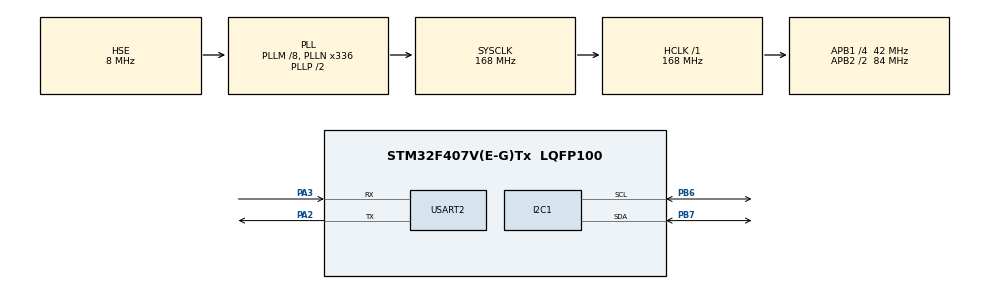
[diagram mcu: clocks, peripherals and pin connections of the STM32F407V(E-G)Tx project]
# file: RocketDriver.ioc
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Mcu.Family=STM32F4
Mcu.Name=STM32F407V(E-G)Tx
Mcu.Package=LQFP100
NVIC.I2C1_ER_IRQn=true\:0\:0\:false\:false\:true\:true\:true\:true
NVIC.I2C1_EV_IRQn=true\:0\:0\:false\:false\:true\:true\:true\:true
NVIC.PriorityGroup=NVIC_PRIORITYGROUP_0
NVIC.USART2_IRQn=true\:0\:0\:false\:false\:true\:true\:true\:true
PA13.Mode=Serial_Wire
PA13.Signal=SYS_JTMS-SWDIO
PA14.Mode=Serial_Wire
PA14.Signal=SYS_JTCK-SWCLK
PA2.Mode=Asynchronous
PA2.Signal=USART2_TX
PA3.Mode=Asynchronous
PA3.Signal=USART2_RX
PB6.Mode=I2C
PB6.Signal=I2C1_SCL
PB7.Mode=I2C
PB7.Signal=I2C1_SDA
PH0-OSC_IN.Mode=HSE-External-Oscillator
PH0-OSC_IN.Signal=RCC_OSC_IN
PH1-OSC_OUT.Mode=HSE-External-Oscillator
PH1-OSC_OUT.Signal=RCC_OSC_OUT
ProjectManager.HeapSize=0x200
ProjectManager.StackSize=0x400
ProjectManager.TargetToolchain=STM32CubeIDE
RCC.48MHZClocksFreq_Value=48000000
RCC.AHBFreq_Value=168000000
RCC.APB1CLKDivider=RCC_HCLK_DIV4
RCC.APB1Freq_Value=42000000
RCC.APB1TimFreq_Value=84000000
RCC.APB2CLKDivider=RCC_HCLK_DIV2
RCC.APB2Freq_Value=84000000
RCC.APB2TimFreq_Value=168000000
RCC.CortexFreq_Value=168000000
RCC.HCLKFreq_Value=168000000
RCC.HSE_VALUE=8000000
RCC.HSI_VALUE=16000000
RCC.LSE_VALUE=32768
RCC.PLLM=8
RCC.PLLN=336
RCC.PLLQ=7
RCC.PLLSourceVirtual=RCC_PLLSOURCE_HSE
RCC.SYSCLKFreq_VALUE=168000000
RCC.SYSCLKSource=RCC_SYSCLKSOURCE_PLLCLK
RCC.VCOOutputFreq_Value=336000000
USART2.VirtualMode=VM_ASYNC
board=STM32F407G-DISC1

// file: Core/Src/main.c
/* USER CODE BEGIN Header */
/**
  ******************************************************************************
  * @file           : main.c
  * @brief          : Main program body
  ******************************************************************************
  * @attention
  *
  * Copyright (c) 2024 STMicroelectronics.
  * All rights reserved.
  *
  * This software is licensed under terms that can be found in the LICENSE file
  * in the root directory of this software component.
  * If no LICENSE file comes with this software, it is provided AS-IS.
  *
  ******************************************************************************
  */
/* USER CODE END Header */
#include "main.h"

/* USER CODE BEGIN Includes */
#include "MPU6050.h"
#include "BMP280.h"
#include "lwgps_opts.h"
#include "lwgps.h"

BMP280_HandleTypedef_t Handle;
MPUHandleTypedef_t MPUHandle;
lwgps_t gh;

/* USER CODE END Includes */

/* USER CODE BEGIN PD */
uint8_t rxBuffer[128] = {0};
uint8_t rx_data = 0, rx_index = 0;
uint8_t rawData[6] = {0};
uint8_t data[14] = {0};
uint8_t *d = rxBuffer;
char state = 'B';
void (*p)(void);
/* USER CODE END PD */

I2C_HandleTypeDef hi2c1;

UART_HandleTypeDef huart2;

void SystemClock_Config(void);
static void MX_GPIO_Init(void);
static void MX_I2C1_Init(void);
static void MX_USART2_UART_Init(void);
void HAL_I2C_MemRxCpltCallback(I2C_HandleTypeDef *hi2c);
HAL_StatusTypeDef MPU_Initialize(void);
void bmp(void);
void mpu(void);
void helper(void);
void gps(void);

/* USER CODE BEGIN 0 */

void USART2_IRQHandler();

void HAL_UART_RxCpltCallback(UART_HandleTypeDef *huart)
{
	if(huart == &huart2)
	{
		p();
	}

}

void I2C1_EV_IRQHandler();

void HAL_I2C_MemRxCpltCallback(I2C_HandleTypeDef *hi2c)
{
	if(hi2c == &hi2c1)
	{
		p();
	}
}
/**************BMP**********************/
void bmp(void)
{
	p = mpu;
	state = 'M';
	BMP280CalculateData(&Handle);
	BMP280CalibData(&Handle);
	helper();
}
/**************MPU**********************/
void mpu(void)
{
	p = gps;
	state = 'G';
	MPUGenerateData(&MPUHandle, data);
	helper();
}

void gps(void)
{

	if(rx_data != "\n" && (rx_index < sizeof(rxBuffer)))
	{
		rxBuffer[rx_index++] = rx_data;

	}
	else
	{
		lwgps_process(&gh, rxBuffer, rx_index+1);
		rx_index = 0;
		rx_data = 0;

		p = bmp;
		state = 'B';

	}

	helper();

}

void helper(void)
{
	if(state == 'B')
	{
		HAL_I2C_Mem_Read_IT(&hi2c1, dev_addr, 0xF7,  1, rawData, 6);
	}
	else if(state == 'M')
	{
		HAL_I2C_Mem_Read_IT(&hi2c1, (dev_addr_AD0), 0x3B, 1, data, 14);
	}
	else if(state == 'G')
	{
		HAL_UART_Receive_IT(&huart2,&rx_data,1);
	}
}
/* USER CODE END 0 */

int main(void)
{

  /* MCU Configuration--------------------------------------------------------*/

  /* Reset of all peripherals, Initializes the Flash interface and the Systick. */
  HAL_Init();

  /* Configure the system clock */
  SystemClock_Config();

  /* Initialize all configured peripherals */
  MX_GPIO_Init();
  MX_I2C1_Init();
  MX_USART2_UART_Init();
  /* USER CODE BEGIN 2 */

  while(BMP280Init(normal, oversampling_t_2, oversampling_p_8, t_sb_1000));			//BMP initialize
  while(MPU_Initialize());															//MPU initialize
  lwgps_init(&gh);																	//GPS initialize
  Handle.rawData = rawData;															//for BMP sensor

  p = bmp;																		//function pointer

  HAL_NVIC_SetPriority(	USART2_IRQn, 0, 2);
  HAL_NVIC_EnableIRQ(USART2_IRQn);

  HAL_NVIC_SetPriority(I2C1_EV_IRQn, 0, 1);
  HAL_NVIC_EnableIRQ(I2C1_EV_IRQn);

  helper();																			//to receive data

  /* USER CODE END 2 */

  /* Infinite loop */
  while (1)
  {

  }
}

void SystemClock_Config(void)
{
  RCC_OscInitTypeDef RCC_OscInitStruct = {0};
  RCC_ClkInitTypeDef RCC_ClkInitStruct = {0};

  /** Configure the main internal regulator output voltage
  */
  __HAL_RCC_PWR_CLK_ENABLE();
  __HAL_PWR_VOLTAGESCALING_CONFIG(PWR_REGULATOR_VOLTAGE_SCALE1);

  /** Initializes the RCC Oscillators according to the specified parameters
  * in the RCC_OscInitTypeDef structure.
  */
  RCC_OscInitStruct.OscillatorType = RCC_OSCILLATORTYPE_HSE;
  RCC_OscInitStruct.HSEState = RCC_HSE_ON;
  RCC_OscInitStruct.PLL.PLLState = RCC_PLL_ON;
  RCC_OscInitStruct.PLL.PLLSource = RCC_PLLSOURCE_HSE;
  RCC_OscInitStruct.PLL.PLLM = 8;
  RCC_OscInitStruct.PLL.PLLN = 336;
  RCC_OscInitStruct.PLL.PLLP = RCC_PLLP_DIV2;
  RCC_OscInitStruct.PLL.PLLQ = 7;
  if (HAL_RCC_OscConfig(&RCC_OscInitStruct) != HAL_OK)
  {
    Error_Handler();
  }

  /** Initializes the CPU, AHB and APB buses clocks
  */
  RCC_ClkInitStruct.ClockType = RCC_CLOCKTYPE_HCLK|RCC_CLOCKTYPE_SYSCLK
                              |RCC_CLOCKTYPE_PCLK1|RCC_CLOCKTYPE_PCLK2;
  RCC_ClkInitStruct.SYSCLKSource = RCC_SYSCLKSOURCE_PLLCLK;
  RCC_ClkInitStruct.AHBCLKDivider = RCC_SYSCLK_DIV1;
  RCC_ClkInitStruct.APB1CLKDivider = RCC_HCLK_DIV4;
  RCC_ClkInitStruct.APB2CLKDivider = RCC_HCLK_DIV2;

  if (HAL_RCC_ClockConfig(&RCC_ClkInitStruct, FLASH_LATENCY_5) != HAL_OK)
  {
    Error_Handler();
  }
}

static void MX_I2C1_Init(void)
{

  hi2c1.Instance = I2C1;
  hi2c1.Init.ClockSpeed = 100000;
  hi2c1.Init.DutyCycle = I2C_DUTYCYCLE_2;
  hi2c1.Init.OwnAddress1 = 0;
  hi2c1.Init.AddressingMode = I2C_ADDRESSINGMODE_7BIT;
  hi2c1.Init.DualAddressMode = I2C_DUALADDRESS_DISABLE;
  hi2c1.Init.OwnAddress2 = 0;
  hi2c1.Init.GeneralCallMode = I2C_GENERALCALL_DISABLE;
  hi2c1.Init.NoStretchMode = I2C_NOSTRETCH_DISABLE;
  if (HAL_I2C_Init(&hi2c1) != HAL_OK)
  {
    Error_Handler();
  }

}

static void MX_USART2_UART_Init(void)
{

  huart2.Instance = USART2;
  huart2.Init.BaudRate = 115200;
  huart2.Init.WordLength = UART_WORDLENGTH_8B;
  huart2.Init.StopBits = UART_STOPBITS_1;
  huart2.Init.Parity = UART_PARITY_NONE;
  huart2.Init.Mode = UART_MODE_TX_RX;
  huart2.Init.HwFlowCtl = UART_HWCONTROL_NONE;
  huart2.Init.OverSampling = UART_OVERSAMPLING_16;
  if (HAL_UART_Init(&huart2) != HAL_OK)
  {
    Error_Handler();
  }

}

static void MX_GPIO_Init(void)
{

  /* GPIO Ports Clock Enable */
  __HAL_RCC_GPIOH_CLK_ENABLE();
  __HAL_RCC_GPIOA_CLK_ENABLE();
  __HAL_RCC_GPIOB_CLK_ENABLE();

}

/* USER CODE BEGIN 4 */
HAL_StatusTypeDef MPU_Initialize(void)
{
	uint8_t status;
	MPUHandleTypedef_t MPUHandle = {0};

	MPUHandle.Sleep = Awake;
	MPUHandle.AFS_SEL_Acc = AFS_SEL_4;
	MPUHandle.FS_SEL_Gyro = FS_SEL_1000;

	status = MPUInitialize(&MPUHandle);
	if(HAL_OK == status){
		return HAL_OK;
	}
	else{
		return HAL_ERROR;
	}
}

/* USER CODE END 4 */

void Error_Handler(void)
{
  __disable_irq();
  while (1)
  {
  }
}
